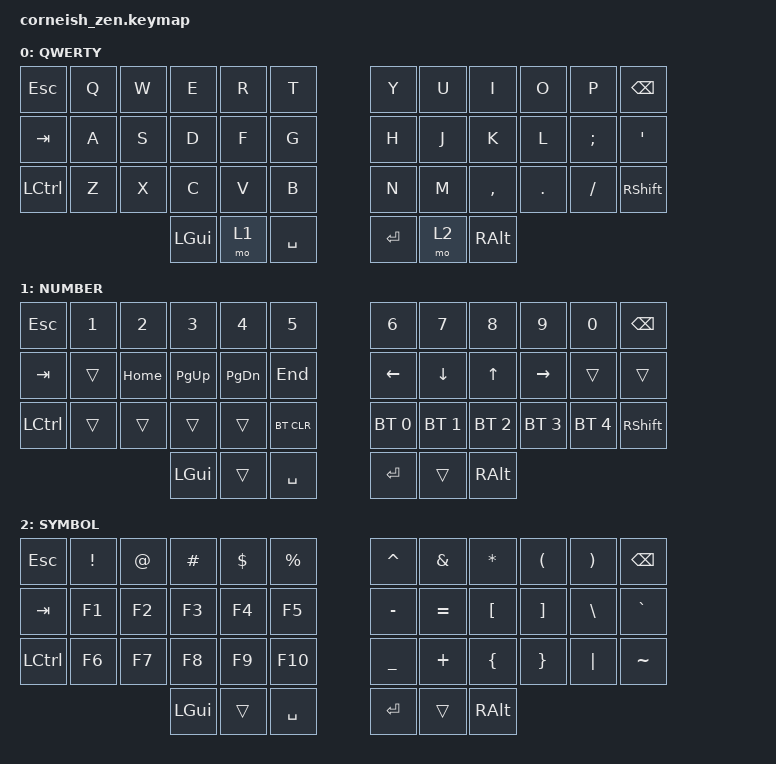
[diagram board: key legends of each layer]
#include <behaviors.dtsi>
#include <dt-bindings/zmk/keys.h>
#include <dt-bindings/zmk/bt.h>

/ {
  chosen {
    zmk,matrix_transform = &default_transform;
    //zmk,matrix_transform = &five_column_transform;
  };
};

/ {
        keymap {
                compatible = "zmk,keymap";

                default_layer {
                        label = "QWERTY";
// -----------------------------------------------------------------------------------------
// |  ESC |  Q  |  W  |  E  |  R  |  T  |   |  Y  |  U   |  I  |  O  |  P  | BKSP |
// |  TAB |  A  |  S  |  D  |  F  |  G  |   |  H  |  J   |  K  |  L  |  ;  |  '   |
// | LCTRL|  Z  |  X  |  C  |  V  |  B  |   |  N  |  M   |  ,  |  .  |  /  |RSHIFT|
//                    | GUI | LWR | SPC |   | ENT | RSE  | ALT |
                        bindings = <
   &kp ESC   &kp Q &kp W &kp E &kp R &kp T   &kp Y &kp U  &kp I     &kp O   &kp P    &kp BSPC
   &kp TAB   &kp A &kp S &kp D &kp F &kp G   &kp H &kp J  &kp K     &kp L   &kp SEMI &kp SQT
   &kp LCTRL &kp Z &kp X &kp C &kp V &kp B   &kp N &kp M  &kp COMMA &kp DOT &kp FSLH &kp RSHIFT
                  &kp LGUI &mo 1 &kp SPACE   &kp RET &mo 2 &kp RALT
                        >;
                };
                lower_layer {
                        label = "NUMBER";
// -----------------------------------------------------------------------------------------
// |  ESC |  1  |  2  |  3  |  4  |  5  |   |  6  |  7  |  8  |  9  |  0  | BKSP |
// |  TAB |     | HOME|PG_UP|PG_DN| END |   | LFT | DWN | UP  | RGT |     |      |
// | LCTRL|     |     |     |     |BTCLR|   | BT1 | BT2 | BT3 | BT4 | BT5 |RSHIFT|
//                    | GUI |     | SPC |   | ENT |     | ALT |
                        bindings = <
   &kp ESC    &kp N1  &kp N2   &kp N3     &kp N4     &kp N5       &kp N6        &kp N7        &kp N8        &kp N9        &kp N0        &kp BSPC
   &kp TAB    &trans  &kp HOME &kp PG_UP  &kp PG_DN  &kp END      &kp LEFT      &kp DOWN      &kp UP        &kp RIGHT     &trans        &trans
   &kp LCTRL  &trans  &trans   &trans     &trans     &bt BT_CLR   &bt BT_SEL 0  &bt BT_SEL 1  &bt BT_SEL 2  &bt BT_SEL 3  &bt BT_SEL 4  &kp RSHIFT
                                 &kp LGUI  &trans  &kp SPACE    &kp RET       &trans        &kp RALT
                        >;
                };

                raise_layer {
                        label = "SYMBOL";
// -----------------------------------------------------------------------------------------
// |  ESC |  !  |  @  |  #  |  $  |  %  |   |  ^  |  &  |  *  |  (  |  )  | BKSP |
// |  TAB |  F1 |  F2 |  F3 |  F4 |  F5 |   |  -  |  =  |  [  |  ]  |  \  |  `   |
// | LCTRL|  F6 |  F7 |  F8 |  F9 | F10 |   |  _  |  +  |  {  |  }  | "|" |  ~   |
//                    | GUI |     | SPC |   | ENT |     | ALT |
                        bindings = <
   &kp ESC   &kp EXCL &kp AT &kp HASH &kp DLLR &kp PRCNT   &kp CARET &kp AMPS  &kp STAR &kp LPAR &kp RPAR &kp BSPC
   &kp TAB   &kp F1   &kp F2 &kp F3   &kp F4   &kp F5      &kp MINUS &kp EQUAL &kp LBKT &kp RBKT &kp BSLH &kp GRAVE
   &kp LCTRL &kp F6   &kp F7 &kp F8   &kp F9   &kp F10     &kp UNDER &kp PLUS  &kp LBRC &kp RBRC &kp PIPE &kp TILDE
                    	     &kp LGUI &trans   &kp SPACE   &kp RET   &trans    &kp RALT
                        >;
                };
        };
};
